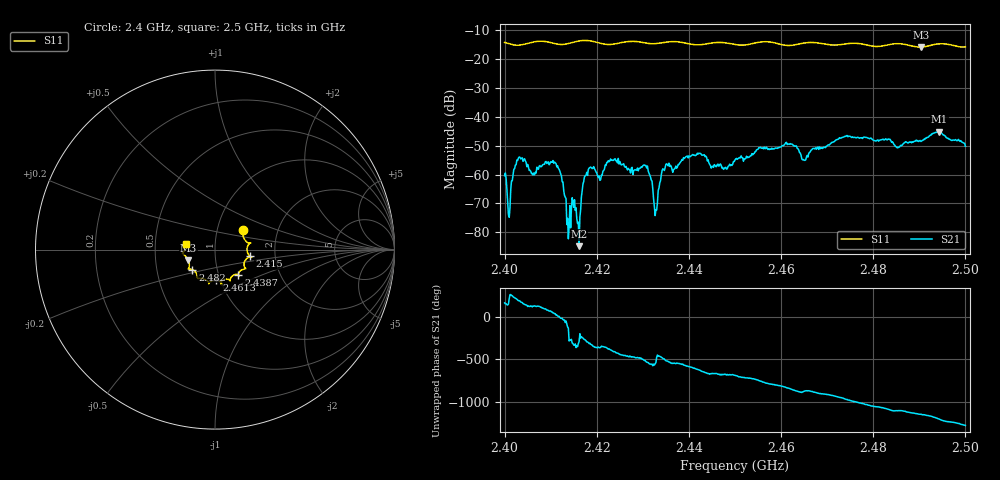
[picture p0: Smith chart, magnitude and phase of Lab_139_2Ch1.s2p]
# Hz S RI R 50
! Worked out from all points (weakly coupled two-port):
!   601 points, 2.4 GHz to 2.5 GHz, reference 50 ohm
!   highest |S21| = -45.12 dB at 2.4943 GHz (marker M1); lowest = -84.8 dB at 2.4162 GHz (marker M2)
!   lowest |S11| = -15.9 dB at 2.4903 GHz (marker M3), VSWR 1.38, Z = 36.8 - j4.44 ohm
!   |S11| at or under -10 dB: start of sweep to end of sweep
!   S12 and S22 are empty: the file has one direction only
!   S11 on the Smith chart (normalised r, x): 2.4 GHz: 1.33, +0.31; 2.415 GHz: 1.47, -0.11; 2.4387 GHz: 1.24, -0.36; 2.4613 GHz: 0.96, -0.34; 2.482 GHz: 0.76, -0.17; 2.5 GHz: 0.72, +0.05
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2.4e9  0.158 0.1119  -0.000916 0.000274  0 0  0 0
2.401e9  0.1558 0.0969  -0.000153 -9.9e-05  0 0  0 0
2.403167e9  0.163 0.0595  -0.00199 -0.000323  0 0  0 0
2.410667e9  0.1845 0.0242  0.00113 0.00108  0 0  0 0
2.413833e9  0.1837 -0.0227  -5.44e-05 -5.53e-05  0 0  0 0
2.415e9  0.1925 -0.0363  0.000243 0.00012  0 0  0 0
2.416167e9  0.201 -0.0429  2.15e-05 5.36e-05  0 0  0 0
2.416667e9  0.2034 -0.044  -0.000247 0.000333  0 0  0 0
2.418333e9  0.2026 -0.0415  0.000923 0.000905  0 0  0 0
2.4235e9  0.1619 -0.0786  0.00121 -0.00128  0 0  0 0
2.4305e9  0.1541 -0.1106  -0.00131 -0.000585  0 0  0 0
2.433333e9  0.1323 -0.1317  -0.000143 -0.000512  0 0  0 0
2.434667e9  0.1306 -0.1429  -0.000871 -0.000794  0 0  0 0
2.438667e9  0.1303 -0.1416  -0.00168 0.000577  0 0  0 0
2.45e9  0.0688 -0.1646  0.00156 0.000875  0 0  0 0
2.461333e9  0.00785 -0.1712  -0.00155 -0.00292  0 0  0 0
2.466667e9  -0.0347 -0.1903  -0.00254 -0.000892  0 0  0 0
2.482e9  -0.1259 -0.1113  0.00401 0.000568  0 0  0 0
2.483333e9  -0.1396 -0.1083  0.00404 -0.000883  0 0  0 0
2.490333e9  -0.1491 -0.0588  0.00123 -0.00353  0 0  0 0
2.494333e9  -0.1816 -0.0212  -0.0034 -0.00438  0 0  0 0
2.5e9  -0.1588 0.0325  -0.00287 0.00115  0 0  0 0
